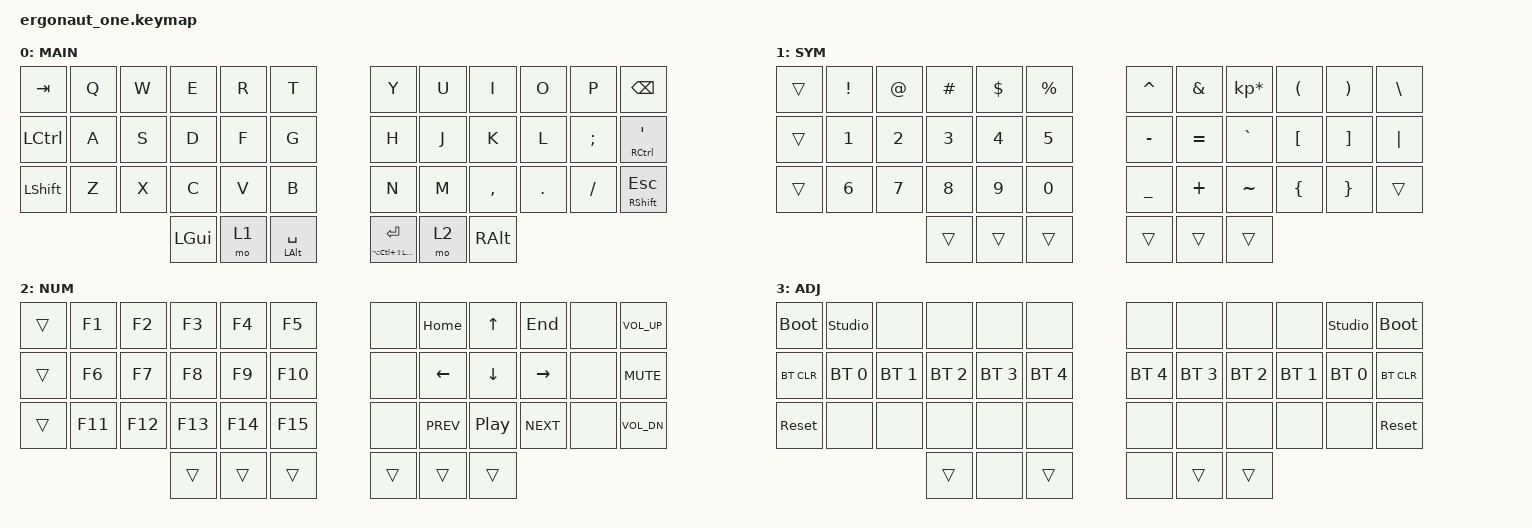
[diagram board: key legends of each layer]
#include <behaviors.dtsi>
#include <dt-bindings/zmk/bt.h>
#include <dt-bindings/zmk/keys.h>

#define DEF 0
#define LWR 1
#define RSE 2
#define ADJ 3

&lt { quick-tap-ms = <200>; };

&mt { quick-tap-ms = <200>; };

/ {
    conditional_layers {
        compatible = "zmk,conditional-layers";

        tri-layer {
            if-layers = <LWR RSE>;
            then-layer = <ADJ>;
        };
    };

    keymap {
        compatible = "zmk,keymap";

        default_layer {
            display-name = "MAIN";
            bindings = <
&kp TAB         &kp Q  &kp W  &kp E         &kp R  &kp T               &kp Y                           &kp U  &kp I          &kp O    &kp P     &kp BACKSPACE
&kp LCTRL       &kp A  &kp S  &kp D         &kp F  &kp G               &kp H                           &kp J  &kp K          &kp L    &kp SEMI  &mt RCTRL SQT
&kp LEFT_SHIFT  &kp Z  &kp X  &kp C         &kp V  &kp B               &kp N                           &kp M  &kp COMMA      &kp DOT  &kp FSLH  &mt RIGHT_SHIFT ESCAPE
                              &kp LEFT_GUI  &mo 1  &mt LEFT_ALT SPACE  &mt LA(LC(LS(LEFT_GUI))) ENTER  &mo 2  &kp RIGHT_ALT
            >;
        };

        lower_layer {
            display-name = "SYM";
            bindings = <
&trans  &kp EXCLAMATION  &kp AT_SIGN  &kp HASH  &kp DOLLAR  &kp PERCENT  &kp CARET       &kp AMPERSAND  &kp KP_MULTIPLY  &kp LEFT_PARENTHESIS  &kp RIGHT_PARENTHESIS  &kp BSLH
&trans  &kp N1           &kp N2       &kp N3    &kp N4      &kp N5       &kp MINUS       &kp EQUAL      &kp GRAVE        &kp LBKT              &kp RBKT               &kp PIPE
&trans  &kp N6           &kp N7       &kp N8    &kp N9      &kp N0       &kp UNDERSCORE  &kp PLUS       &kp TILDE        &kp LEFT_BRACE        &kp RIGHT_BRACE        &trans
                                      &trans    &trans      &trans       &trans          &trans         &trans
            >;
        };

        raise_layer {
            display-name = "NUM";
            bindings = <
&trans  &kp F1   &kp F2   &kp F3   &kp F4   &kp F5   &none   &kp HOME    &kp UP_ARROW      &kp END     &none  &kp C_VOL_UP
&trans  &kp F6   &kp F7   &kp F8   &kp F9   &kp F10  &none   &kp LEFT    &kp DOWN          &kp RIGHT   &none  &kp K_MUTE
&trans  &kp F11  &kp F12  &kp F13  &kp F14  &kp F15  &none   &kp C_PREV  &kp C_PLAY_PAUSE  &kp C_NEXT  &none  &kp C_VOL_DN
                          &trans   &trans   &trans   &trans  &trans      &trans
            >;
        };

        adjust_layer {
            display-name = "ADJ";
            bindings = <
&bootloader  &studio_unlock  &none         &none         &none         &none         &none         &none         &none         &none         &studio_unlock  &bootloader
&bt BT_CLR   &bt BT_SEL 0    &bt BT_SEL 1  &bt BT_SEL 2  &bt BT_SEL 3  &bt BT_SEL 4  &bt BT_SEL 4  &bt BT_SEL 3  &bt BT_SEL 2  &bt BT_SEL 1  &bt BT_SEL 0    &bt BT_CLR
&sys_reset   &none           &none         &none         &none         &none         &none         &none         &none         &none         &none           &sys_reset
                                           &trans        &none         &trans        &none         &trans        &trans
            >;
        };
    };
};
